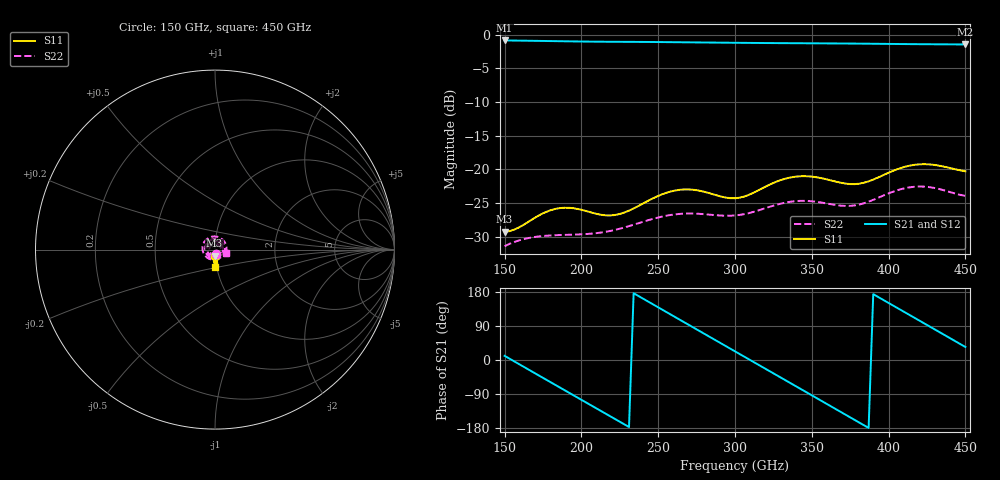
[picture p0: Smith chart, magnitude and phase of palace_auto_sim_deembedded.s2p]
! Created with skrf 1.11.0 (http://scikit-rf.org).
# GHz S DB R 50.0
!freq dBS11 angS11 dBS21 angS21 dBS12 angS12 dBS22 angS22
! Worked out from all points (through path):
!   101 points, 150 GHz to 450 GHz, reference 50 ohm
!   highest |S21| = -0.83 dB at 150 GHz (marker M1); lowest = -1.4 dB at 450 GHz (marker M2)
!   group delay of S21, straight-line fit = 6.45 ps
!   lowest |S11| = -29.3 dB at 150 GHz (marker M3), VSWR 1.07, Z = 49.6 - j3.4 ohm
!   |S11| at or under -10 dB: start of sweep to end of sweep
!   |S22| runs from -31.4 to -22.6 dB; largest |S21 - S12| = 1.1e-14
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150  -29.29 -94.3  -0.83 11.0  -0.83 11.0  -31.44 -72.6
165  -27.88 -84.6  -0.87 -23.9  -0.87 -23.9  -30.25 -134.0
180  -26.09 -88.2  -0.92 -58.7  -0.92 -58.7  -29.84 161.6
201  -26.08 -97.7  -0.99 -107.4  -0.99 -107.4  -29.66 64.5
216  -26.86 -93.5  -1.02 -142.1  -1.02 -142.1  -29.29 -9.2
228  -26.42 -85.4  -1.04 -169.9  -1.04 -169.9  -28.65 -68.5
240  -25.10 -81.2  -1.05 162.2  -1.05 162.2  -27.81 -125.9
252  -23.77 -83.2  -1.07 134.3  -1.07 134.3  -27.06 179.5
264  -23.05 -88.8  -1.10 106.4  -1.10 106.4  -26.64 126.7
276  -23.15 -94.4  -1.13 78.5  -1.13 78.5  -26.62 73.5
300  -24.31 -89.1  -1.18 22.8  -1.18 22.8  -26.86 -40.7
312  -23.50 -81.7  -1.20 -5.0  -1.20 -5.0  -26.34 -100.1
324  -22.13 -81.0  -1.22 -32.9  -1.22 -32.9  -25.48 -156.7
339  -21.11 -86.8  -1.24 -67.7  -1.24 -67.7  -24.75 136.6
351  -21.12 -91.9  -1.26 -95.6  -1.26 -95.6  -24.78 83.5
363  -21.68 -93.7  -1.27 -123.5  -1.27 -123.5  -25.22 27.5
378  -22.20 -87.9  -1.30 -158.4  -1.30 -158.4  -25.37 -48.7
390  -21.53 -81.5  -1.32 173.7  -1.32 173.7  -24.54 -109.4
402  -20.31 -80.5  -1.35 145.8  -1.35 145.8  -23.41 -164.9
414  -19.44 -84.6  -1.38 118.0  -1.38 118.0  -22.67 143.8
426  -19.27 -90.0  -1.39 90.1  -1.39 90.1  -22.64 93.4
450  -20.30 -91.5  -1.43 34.3  -1.43 34.3  -23.95 -19.5
